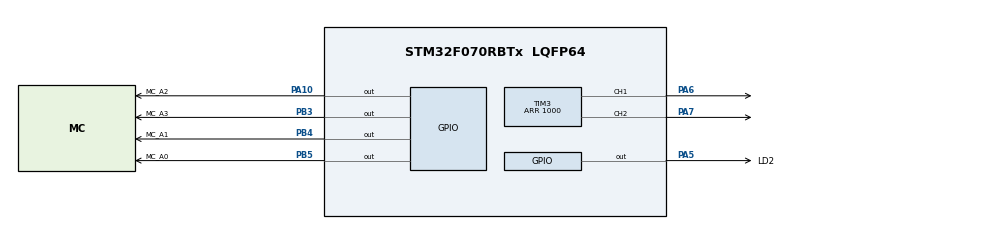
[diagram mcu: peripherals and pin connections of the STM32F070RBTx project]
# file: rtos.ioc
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Mcu.Family=STM32F0
ProjectManager.StackSize=0x400
PA13.Signal=SYS_SWDIO
TIM3.Pulse-PWM\ Generation1\ CH1=0
ProjectManager.TargetToolchain=STM32CubeIDE
TIM3.Period=1000
TIM3.Channel-PWM\ Generation1\ CH1=TIM_CHANNEL_1
PA5.Signal=GPIO_Output
SH.S_TIM3_CH2.0=TIM3_CH2,PWM Generation2 CH2
board=custom
PB4.GPIO_Label=MC_A1
PA14.Mode=Serial_Wire
PA10.GPIO_Label=MC_A2
SH.S_TIM3_CH1.0=TIM3_CH1,PWM Generation1 CH1
PA13.Mode=Serial_Wire
Mcu.Name=STM32F070RBTx
PB3.Signal=GPIO_Output
Mcu.Package=LQFP64
PB5.Signal=GPIO_Output
PA6.Signal=S_TIM3_CH1
PA5.GPIO_Label=LD2
PA10.Signal=GPIO_Output
PA14.Signal=SYS_SWCLK
ProjectManager.HeapSize=0x200
TIM3.Channel-PWM\ Generation2\ CH2=TIM_CHANNEL_2
PB5.GPIO_Label=MC_A0
VP_TIM3_VS_ClockSourceINT.Mode=Internal
PB4.Signal=GPIO_Output
PA7.Signal=S_TIM3_CH2
PB3.GPIO_Label=MC_A3

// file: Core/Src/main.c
/* USER CODE BEGIN Header */
/**
  ******************************************************************************
  * @file           : main.c
  * @brief          : Main program body
  ******************************************************************************
  * @attention
  *
  * <h2><center>&copy; Copyright (c) 2021 STMicroelectronics.
  * All rights reserved.</center></h2>
  *
  * This software component is licensed by ST under BSD 3-Clause license,
  * the "License"; You may not use this file except in compliance with the
  * License. You may obtain a copy of the License at:
  *                        opensource.org/licenses/BSD-3-Clause
  *
  ******************************************************************************
  */
/* USER CODE END Header */
#include "main.h"

TIM_HandleTypeDef htim3;

void SystemClock_Config(void);
static void MX_GPIO_Init(void);
static void MX_TIM3_Init(void);

/* USER CODE BEGIN 0 */
void Set_Motor_Direction(GPIO_TypeDef* GPIOx_Left, GPIO_TypeDef* GPIOx_Right,  uint16_t GPIO_Pin_Left, uint16_t GPIO_Pin_Right, int motor_Value);
void Set_Motor_Value(TIM_HandleTypeDef* htimx, uint32_t TIM_CHANNEL_X, int motor_Value);
int abs(int x);
/* USER CODE END 0 */

int main(void)
{

  /* MCU Configuration--------------------------------------------------------*/

  /* Reset of all peripherals, Initializes the Flash interface and the Systick. */
  HAL_Init();

  /* Configure the system clock */
  SystemClock_Config();

  /* Initialize all configured peripherals */
  MX_GPIO_Init();
  MX_TIM3_Init();
  /* USER CODE BEGIN 2 */
  HAL_TIM_Base_Start(&MC_HTIM);               //Initialize stm32 timer 3
  HAL_TIM_PWM_Start(&MC_HTIM, MC_PWM1_TIM_CHANNEL);  // Start pwm first motor
  HAL_TIM_PWM_Start(&MC_HTIM, MC_PWM2_TIM_CHANNEL);  //Start pwm second motor

  /* USER CODE END 2 */

  /* Infinite loop */
  /* USER CODE BEGIN WHILE */
	int wheel_val = 0;
	int inc = 1;
  while (1)
  {
    // "sinusoidal" output voltage
    while (abs(wheel_val) < 100)
    {
      HAL_GPIO_TogglePin(LD2_GPIO_Port, LD2_Pin); // dbg ping toggle

      // https://www.engineersgarage.com/wp-content/uploads/2/2/1/5/22159166/dc-motor-speed-and-direction-control-with-stm32-microcontroller-and-l293d-motor-driver_orig.png
      Set_Motor_Direction(MC_A0_GPIO_Port, MC_A1_GPIO_Port, MC_A0_Pin, MC_A1_Pin, wheel_val);
      Set_Motor_Direction(MC_A2_GPIO_Port, MC_A3_GPIO_Port, MC_A2_Pin, MC_A3_Pin, wheel_val);

      Set_Motor_Value(&MC_HTIM, MC_PWM1_TIM_CHANNEL, wheel_val);
      Set_Motor_Value(&MC_HTIM, MC_PWM2_TIM_CHANNEL, wheel_val);

      HAL_Delay(20);
      wheel_val = wheel_val + inc;
    }
  inc = -inc;
  wheel_val = wheel_val + inc;

    /* USER CODE END WHILE */

  }
}

void SystemClock_Config(void)
{
  RCC_OscInitTypeDef RCC_OscInitStruct = {0};
  RCC_ClkInitTypeDef RCC_ClkInitStruct = {0};

  /** Initializes the RCC Oscillators according to the specified parameters
  * in the RCC_OscInitTypeDef structure.
  */
  RCC_OscInitStruct.OscillatorType = RCC_OSCILLATORTYPE_HSI;
  RCC_OscInitStruct.HSIState = RCC_HSI_ON;
  RCC_OscInitStruct.HSICalibrationValue = RCC_HSICALIBRATION_DEFAULT;
  RCC_OscInitStruct.PLL.PLLState = RCC_PLL_NONE;
  if (HAL_RCC_OscConfig(&RCC_OscInitStruct) != HAL_OK)
  {
    Error_Handler();
  }
  /** Initializes the CPU, AHB and APB buses clocks
  */
  RCC_ClkInitStruct.ClockType = RCC_CLOCKTYPE_HCLK|RCC_CLOCKTYPE_SYSCLK
                              |RCC_CLOCKTYPE_PCLK1;
  RCC_ClkInitStruct.SYSCLKSource = RCC_SYSCLKSOURCE_HSI;
  RCC_ClkInitStruct.AHBCLKDivider = RCC_SYSCLK_DIV1;
  RCC_ClkInitStruct.APB1CLKDivider = RCC_HCLK_DIV1;

  if (HAL_RCC_ClockConfig(&RCC_ClkInitStruct, FLASH_LATENCY_0) != HAL_OK)
  {
    Error_Handler();
  }
}

static void MX_TIM3_Init(void)
{

  TIM_ClockConfigTypeDef sClockSourceConfig = {0};
  TIM_MasterConfigTypeDef sMasterConfig = {0};
  TIM_OC_InitTypeDef sConfigOC = {0};

  htim3.Instance = TIM3;
  htim3.Init.Prescaler = 0;
  htim3.Init.CounterMode = TIM_COUNTERMODE_UP;
  htim3.Init.Period = 1000;
  htim3.Init.ClockDivision = TIM_CLOCKDIVISION_DIV1;
  htim3.Init.AutoReloadPreload = TIM_AUTORELOAD_PRELOAD_DISABLE;
  if (HAL_TIM_Base_Init(&htim3) != HAL_OK)
  {
    Error_Handler();
  }
  sClockSourceConfig.ClockSource = TIM_CLOCKSOURCE_INTERNAL;
  if (HAL_TIM_ConfigClockSource(&htim3, &sClockSourceConfig) != HAL_OK)
  {
    Error_Handler();
  }
  if (HAL_TIM_PWM_Init(&htim3) != HAL_OK)
  {
    Error_Handler();
  }
  sMasterConfig.MasterOutputTrigger = TIM_TRGO_RESET;
  sMasterConfig.MasterSlaveMode = TIM_MASTERSLAVEMODE_DISABLE;
  if (HAL_TIMEx_MasterConfigSynchronization(&htim3, &sMasterConfig) != HAL_OK)
  {
    Error_Handler();
  }
  sConfigOC.OCMode = TIM_OCMODE_PWM1;
  sConfigOC.Pulse = 0;
  sConfigOC.OCPolarity = TIM_OCPOLARITY_HIGH;
  sConfigOC.OCFastMode = TIM_OCFAST_DISABLE;
  if (HAL_TIM_PWM_ConfigChannel(&htim3, &sConfigOC, TIM_CHANNEL_1) != HAL_OK)
  {
    Error_Handler();
  }
  HAL_TIM_MspPostInit(&htim3);

}

static void MX_GPIO_Init(void)
{
  GPIO_InitTypeDef GPIO_InitStruct = {0};

  /* GPIO Ports Clock Enable */
  __HAL_RCC_GPIOA_CLK_ENABLE();
  __HAL_RCC_GPIOB_CLK_ENABLE();

  /*Configure GPIO pin Output Level */
  HAL_GPIO_WritePin(GPIOA, LD2_Pin|MC_A2_Pin, GPIO_PIN_RESET);

  /*Configure GPIO pin Output Level */
  HAL_GPIO_WritePin(MC_A3_GPIO_Port, MC_A3_Pin, GPIO_PIN_RESET);

  /*Configure GPIO pins : LD2_Pin MC_A2_Pin */
  GPIO_InitStruct.Pin = LD2_Pin|MC_A2_Pin;
  GPIO_InitStruct.Mode = GPIO_MODE_OUTPUT_PP;
  GPIO_InitStruct.Pull = GPIO_NOPULL;
  GPIO_InitStruct.Speed = GPIO_SPEED_FREQ_LOW;
  HAL_GPIO_Init(GPIOA, &GPIO_InitStruct);

  /*Configure GPIO pin : MC_A3_Pin */
  GPIO_InitStruct.Pin = MC_A3_Pin;
  GPIO_InitStruct.Mode = GPIO_MODE_OUTPUT_PP;
  GPIO_InitStruct.Pull = GPIO_NOPULL;
  GPIO_InitStruct.Speed = GPIO_SPEED_FREQ_LOW;
  HAL_GPIO_Init(MC_A3_GPIO_Port, &GPIO_InitStruct);

}

/* USER CODE BEGIN 4 */
inline void Set_Motor_Direction(GPIO_TypeDef* GPIOx_Left, GPIO_TypeDef* GPIOx_Right,  uint16_t GPIO_Pin_Left, uint16_t GPIO_Pin_Right, int motor_Value) {
	uint16_t left_Pin_Target_State = (motor_Value > 0) * GPIO_PIN_SET + (motor_Value <= 0) * GPIO_PIN_RESET;
	HAL_GPIO_WritePin(GPIOx_Left, GPIO_Pin_Left, left_Pin_Target_State);
	HAL_GPIO_WritePin(GPIOx_Right, GPIO_Pin_Right, !left_Pin_Target_State);
}

inline void Set_Motor_Value(TIM_HandleTypeDef* htimx, uint32_t TIM_CHANNEL_X, int motor_Value) {
	__HAL_TIM_SET_COMPARE(&MC_HTIM, MC_PWM1_TIM_CHANNEL, abs(motor_Value));
}

/* USER CODE END 4 */

void Error_Handler(void)
{
  __disable_irq();
  while (1)
  {
  }
}

/************************ (C) COPYRIGHT STMicroelectronics *****END OF FILE****/
